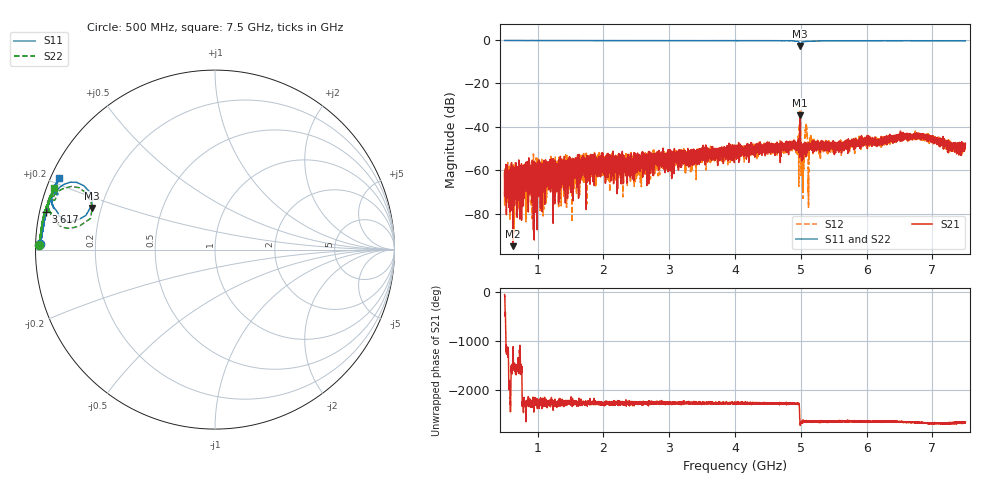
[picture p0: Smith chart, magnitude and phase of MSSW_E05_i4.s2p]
!Keysight Technologies,M9374A,MY55442783,A.12.55.05
!Date: Thursday, May 20, 2021 12:05:46
!Correction: S11(Full 2 Port(1,2))
!S21(Full 2 Port(1,2))
!S12(Full 2 Port(1,2))
!S22(Full 2 Port(1,2))
!S2P File: Measurements: S11, S21, S12, S22:
# Hz S  RI  R 50
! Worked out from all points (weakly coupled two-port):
!   7001 points, 500 MHz to 7.5 GHz, reference 50 ohm
!   highest |S21| = -34.73 dB at 4.987 GHz (marker M1); lowest = -95.0 dB at 624 MHz (marker M2)
!   lowest |S11| = -2.8 dB at 4.989 GHz (marker M3), VSWR 6.22, Z = 8.25 + j8.02 ohm
!   |S11| at or under -10 dB: nowhere
!   |S22| runs from -2.9 to -0.2 dB; largest |S21 - S12| = 0.019
!   S11 on the Smith chart (normalised r, x): 500 MHz: 0.01, +0.02; 3.617 GHz: 0.02, +0.11; 7.5 GHz: 0.02, +0.22
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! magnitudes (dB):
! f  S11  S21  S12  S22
! 500 MHz  -0.2  -71.9  -61.0  -0.2
! 536 MHz  -0.2  -71.2  -66.7  -0.2
! 624 MHz  -0.2  -95.0  -68.7  -0.2
! 822 MHz  -0.3  -67.6  -58.4  -0.2
! 1.667 GHz  -0.3  -57.0  -58.6  -0.2
! 2.326 GHz  -0.3  -55.9  -57.9  -0.2
! 2.834 GHz  -0.3  -54.0  -53.3  -0.2
! 3.617 GHz  -0.3  -52.6  -53.4  -0.2
! 4 GHz  -0.3  -49.5  -50.9  -0.3
! 4.935 GHz  -0.5  -48.8  -48.9  -0.5
! 4.966 GHz  -0.8  -45.5  -49.5  -0.7
! 4.987 GHz  -2.7  -34.7  -37.5  -2.7
! 4.989 GHz  -2.8  -37.2  -33.5  -2.8
! 5.035 GHz  -0.9  -50.9  -63.4  -0.8
! 5.072 GHz  -0.7  -49.7  -41.9  -0.6
! 5.134 GHz  -0.6  -48.7  -46.7  -0.5
! 5.167 GHz  -0.5  -47.8  -47.2  -0.4
! 5.31 GHz  -0.5  -49.1  -46.7  -0.4
! 6.334 GHz  -0.4  -46.4  -47.5  -0.3
! 6.765 GHz  -0.4  -44.6  -44.2  -0.3
! 7.264 GHz  -0.4  -49.5  -50.6  -0.4
! 7.5 GHz  -0.4  -48.0  -49.3  -0.4
